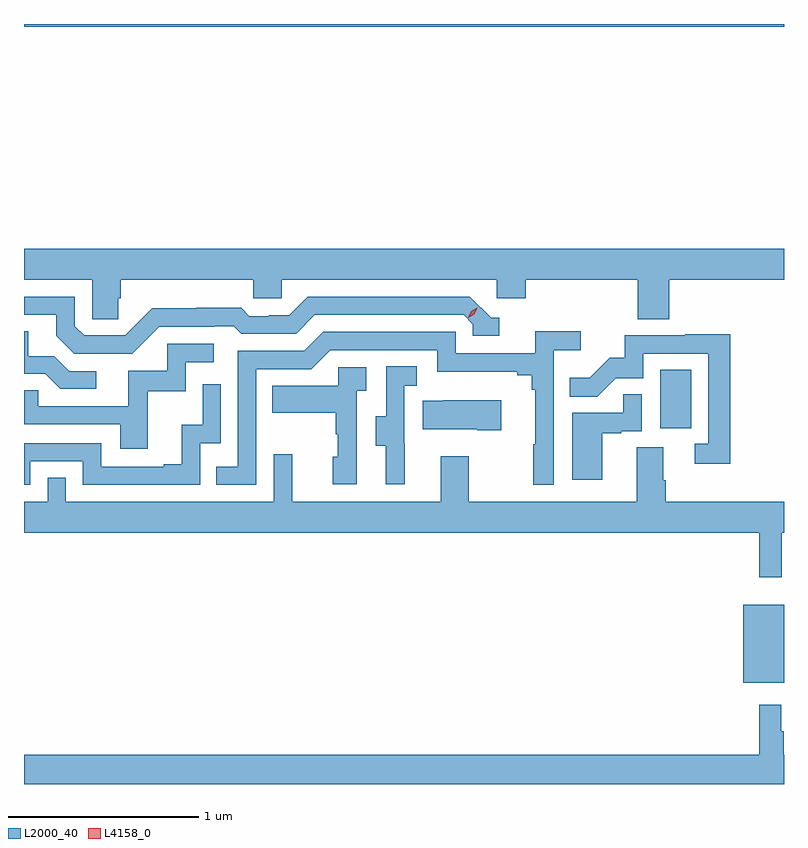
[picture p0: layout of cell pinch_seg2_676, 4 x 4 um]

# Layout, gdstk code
import gdstk
lib = gdstk.Library(unit=1e-6, precision=1e-09)
def R(c, l, rs):  # rectangles x0, y0, x1, y1
    for r in rs: c.add(gdstk.rectangle(r[:2], r[2:], *l))
def P(c, l, *ps):  # polygons
    for p in ps: c.add(gdstk.Polygon(p, *l))
L2000_40 = (2000, 40)
L4158_0 = (4158, 0)

pinch_seg2_676 = lib.new_cell('pinch_seg2_676')
R(pinch_seg2_676, L2000_40, [(1095.314,592.235,1095.528,592.645), (1094.876,593.574,1095.04,593.881), (1091.528,595.688,1095.528,595.702)])
P(pinch_seg2_676, L2000_40, [(1092.023,594.258),(1092.038,594.258),(1092.038,594.356),(1092.735,594.356),(1092.735,594.258),(1092.885,594.258),(1092.885,594.356),(1094.016,594.356),(1094.016,594.258),(1094.168,594.258),(1094.168,594.356),(1094.759,594.356),(1094.759,594.148),(1094.924,594.148),(1094.924,594.356),(1095.528,594.356),(1095.528,594.52),(1091.528,594.52),(1091.528,594.356),(1091.886,594.356),(1091.886,594.148),(1092.023,594.148)],
  [(1092.24,594.108),(1092.533,594.108),(1092.533,594.111),(1092.632,594.111),(1092.671,594.072),(1092.96,594.072),(1093.059,594.171),(1093.842,594.171),(1093.89,594.123),(1093.89,594.06),(1094.029,594.06),(1094.029,594.156),(1093.986,594.156),(1093.875,594.267),(1093.022,594.267),(1092.923,594.168),(1092.816,594.168),(1092.816,594.165),(1092.713,594.165),(1092.671,594.208),(1092.438,594.208),(1092.438,594.205),(1092.202,594.205),(1092.06,594.063),(1091.844,594.063),(1091.796,594.111),(1091.796,594.267),(1091.528,594.267),(1091.528,594.171),(1091.699,594.171),(1091.699,594.061),(1091.793,593.967),(1092.099,593.967)],
  [(1091.908,593.874),(1091.766,593.874),(1091.686,593.954),(1091.551,593.954),(1091.551,594.086),(1091.528,594.086),(1091.528,593.862),(1091.639,593.862),(1091.72,593.781),(1091.908,593.781)],
  [(1092.75,593.886),(1093.041,593.886),(1093.14,593.985),(1093.704,593.985),(1093.704,593.873),(1094.123,593.873),(1094.123,593.854),(1094.2,593.854),(1094.2,593.777),(1094.219,593.777),(1094.219,593.489),(1094.208,593.489),(1094.208,593.277),(1094.316,593.277),(1094.316,593.984),(1094.458,593.984),(1094.458,594.086),(1094.219,594.086),(1094.219,593.97),(1093.8,593.97),(1093.8,594.081),(1093.103,594.081),(1093.004,593.982),(1092.654,593.982),(1092.654,593.373),(1092.541,593.373),(1092.541,593.277),(1092.75,593.277)],
  [(1095.245,594.068),(1095.007,594.068),(1095.007,594.063),(1094.689,594.063),(1094.689,593.946),(1094.612,593.946),(1094.505,593.839),(1094.401,593.839),(1094.401,593.74),(1094.545,593.74),(1094.643,593.838),(1094.787,593.838),(1094.787,593.967),(1095.129,593.967),(1095.129,593.493),(1095.057,593.493),(1095.057,593.388),(1095.245,593.388)],
  [(1092.179,593.769),(1092.378,593.769),(1092.378,593.922),(1092.526,593.922),(1092.526,594.018),(1092.282,594.018),(1092.282,593.877),(1092.077,593.877),(1092.077,593.691),(1091.603,593.691),(1091.603,593.775),(1091.528,593.775),(1091.528,593.595),(1092.035,593.595),(1092.035,593.466),(1092.179,593.466)],
  [(1093.532,593.493),(1093.53,593.493),(1093.53,593.797),(1093.594,593.797),(1093.594,593.9),(1093.434,593.9),(1093.434,593.637),(1093.379,593.637),(1093.379,593.482),(1093.433,593.482),(1093.433,593.28),(1093.532,593.28)],
  [(1093.278,593.771),(1093.33,593.771),(1093.33,593.895),(1093.182,593.895),(1093.182,593.797),(1092.835,593.797),(1092.835,593.657),(1093.17,593.657),(1093.17,593.543),(1093.18,593.543),(1093.18,593.424),(1093.154,593.424),(1093.154,593.28),(1093.278,593.28)],
  [(1091.562,593.4),(1091.838,593.4),(1091.838,593.277),(1092.456,593.277),(1092.456,593.496),(1092.564,593.496),(1092.564,593.806),(1092.468,593.806),(1092.468,593.594),(1092.359,593.594),(1092.359,593.386),(1092.263,593.386),(1092.263,593.373),(1091.934,593.373),(1091.934,593.496),(1091.528,593.496),(1091.528,593.277),(1091.562,593.277)],
  [(1094.572,593.547),(1094.672,593.547),(1094.672,593.559),(1094.778,593.559),(1094.778,593.753),(1094.683,593.753),(1094.683,593.655),(1094.414,593.655),(1094.414,593.304),(1094.572,593.304)],
  [(1094.041,593.722),(1093.735,593.722),(1093.735,593.719),(1093.627,593.719),(1093.627,593.57),(1093.913,593.57),(1093.913,593.563),(1094.041,593.563)],
  [(1095.515,593.024),(1095.528,593.024),(1095.528,593.188),(1094.906,593.188),(1094.906,593.3),(1094.893,593.3),(1094.893,593.474),(1094.753,593.474),(1094.753,593.188),(1093.869,593.188),(1093.869,593.428),(1093.721,593.428),(1093.721,593.188),(1092.941,593.188),(1092.941,593.437),(1092.843,593.437),(1092.843,593.188),(1091.748,593.188),(1091.748,593.315),(1091.652,593.315),(1091.652,593.188),(1091.528,593.188),(1091.528,593.024),(1095.397,593.024),(1095.397,592.791),(1095.515,592.791)],
  [(1095.528,591.856),(1095.526,591.856),(1095.526,591.98),(1095.514,591.98),(1095.514,592.12),(1095.397,592.12),(1095.397,591.856),(1091.528,591.856),(1091.528,591.702),(1095.528,591.702)])
P(pinch_seg2_676, L4158_0, [(1093.867,594.156),(1093.867,594.156),(1093.883,594.189),(1093.914,594.208),(1093.914,594.208),(1093.914,594.208),(1093.898,594.175),(1093.867,594.156)])

lib.write_gds('pinch_seg2_676.gds')
